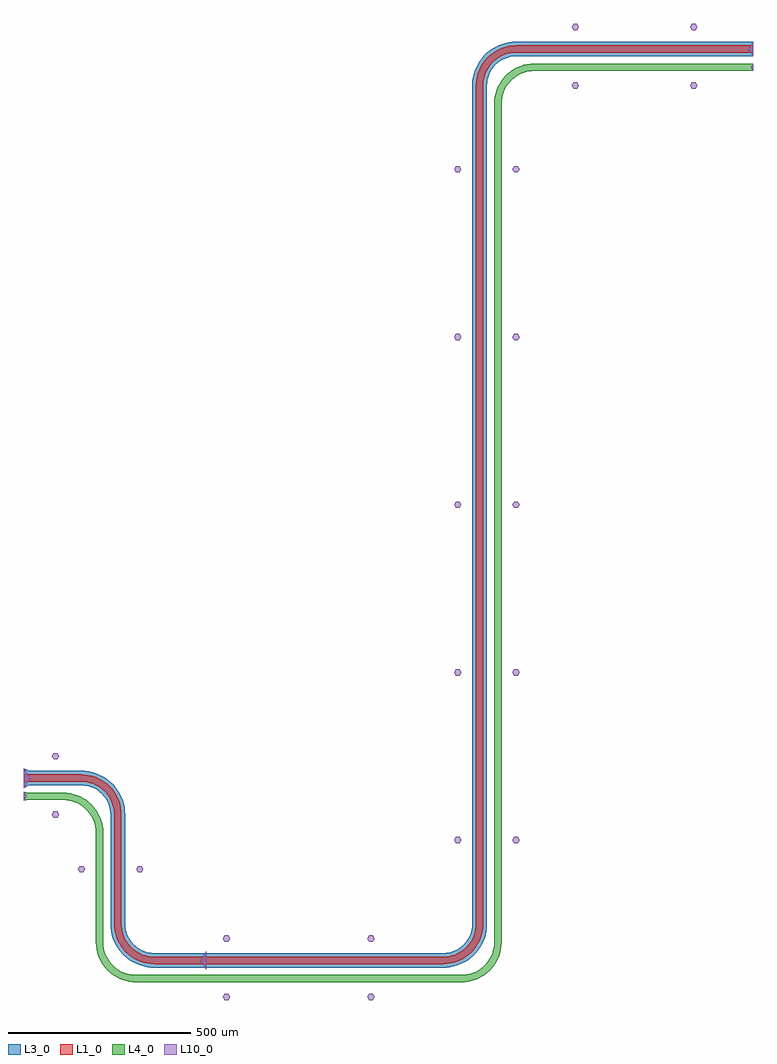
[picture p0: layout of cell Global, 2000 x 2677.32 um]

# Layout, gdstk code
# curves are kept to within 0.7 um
import gdstk
lib = gdstk.Library(unit=1e-6, precision=1e-09)
def P(c, l, *ps):  # polygons
    for p in ps: c.add(gdstk.Polygon(p, *l))
L1_0 = (1, 0)
L3_0 = (3, 0)
L4_0 = (4, 0)
L10_0 = (10, 0)

global_ = lib.new_cell('Global')
P(global_, L1_0, [(0,12.5),(15,10),(15,-10),(0,-12.5)],
  [(15,10),(15,-10),(157.5,-10),(174.037,-11.532),(182.13,-13.436),(197.616,-19.435),(211.737,-28.178),(224.011,-39.367),(234.02,-52.621),(241.423,-67.488),(244.064,-75.37),(245.968,-83.463),(247.5,-100),(247.5,-400),(249.171,-419.101),(251.248,-428.47),(257.806,-446.488),(262.237,-455),(273.235,-470.707),(286.793,-484.265),(294.407,-490.107),(311.012,-499.694),(319.878,-503.366),(338.399,-508.329),(357.5,-510),(1150,-510),(1169.101,-508.329),(1178.47,-506.252),(1196.488,-499.694),(1213.093,-490.107),(1227.782,-477.782),(1240.107,-463.093),(1249.694,-446.488),(1256.252,-428.47),(1258.329,-419.101),(1260,-400),(1260,1900),(1261.532,1916.537),(1263.436,1924.63),(1266.077,1932.512),(1273.48,1947.379),(1283.489,1960.633),(1289.367,1966.511),(1302.621,1976.52),(1317.488,1983.923),(1333.463,1988.468),(1341.696,1989.616),(2000,1990),(2000,2010),(1340.413,2009.581),(1321.53,2006.252),(1303.512,1999.694),(1295,1995.263),(1279.293,1984.265),(1265.735,1970.707),(1259.893,1963.093),(1250.306,1946.488),(1246.634,1937.622),(1241.671,1919.101),(1240,1900),(1240,-400),(1238.468,-416.537),(1233.923,-432.512),(1226.52,-447.379),(1216.511,-460.633),(1210.633,-466.511),(1197.379,-476.52),(1182.512,-483.923),(1166.537,-488.468),(1150,-490),(357.5,-490),(340.963,-488.468),(324.988,-483.923),(310.121,-476.52),(296.867,-466.511),(290.989,-460.633),(280.98,-447.379),(276.935,-440.116),(273.577,-432.512),(269.032,-416.537),(267.5,-400),(267.081,-90.413),(263.752,-71.53),(257.194,-53.512),(252.763,-45),(241.765,-29.293),(228.207,-15.735),(212.5,-4.737),(203.988,-0.306),(185.97,6.252),(176.601,8.329),(157.5,10)])
P(global_, L3_0, [(0,27.5),(15,20),(15,-20),(0,-27.5)],
  [(15,20),(15,-20),(157.5,-20),(173.107,-21.537),(188.115,-26.09),(201.946,-33.482),(214.069,-43.431),(224.018,-55.554),(228.054,-62.288),(234.055,-76.777),(235.963,-84.393),(237.5,-100),(237.5,-400),(239.137,-419.751),(241.172,-429.458),(247.607,-448.203),(251.963,-457.114),(262.803,-473.706),(269.213,-481.274),(283.794,-494.697),(300.386,-505.537),(309.297,-509.893),(328.042,-516.328),(347.59,-519.59),(357.5,-520),(1150,-520),(1159.91,-519.59),(1179.458,-516.328),(1198.203,-509.893),(1207.114,-505.537),(1223.706,-494.697),(1238.287,-481.274),(1250.46,-465.634),(1259.893,-448.203),(1266.328,-429.458),(1269.59,-409.91),(1270,-400),(1270,1900),(1271.537,1915.607),(1273.445,1923.223),(1279.446,1937.712),(1283.482,1944.446),(1293.431,1956.569),(1299.249,1961.841),(1305.554,1966.518),(1319.385,1973.91),(1334.393,1978.463),(1342.159,1979.615),(2000,1980),(2000,2020),(1340.09,2019.59),(1320.542,2016.328),(1301.797,2009.893),(1292.886,2005.537),(1276.294,1994.697),(1268.726,1988.287),(1255.303,1973.706),(1244.463,1957.114),(1236.502,1938.964),(1231.637,1919.751),(1230,1900),(1230,-400),(1228.463,-415.607),(1223.91,-430.615),(1216.518,-444.446),(1206.569,-456.569),(1194.446,-466.518),(1180.615,-473.91),(1165.607,-478.463),(1150,-480),(357.5,-480),(341.893,-478.463),(326.885,-473.91),(313.054,-466.518),(300.931,-456.569),(295.659,-450.751),(286.946,-437.712),(280.945,-423.223),(279.037,-415.607),(277.5,-400),(277.09,-90.09),(273.828,-70.542),(270.998,-61.036),(263.037,-42.886),(257.96,-34.366),(245.787,-18.726),(231.206,-5.303),(214.614,5.537),(196.464,13.498),(186.958,16.328),(167.41,19.59),(157.5,20)])
P(global_, L4_0, [(0,-37.5),(15,-40),(15,-60),(0,-62.5)],
  [(15,-40),(15,-60),(115.804,-60.384),(124.037,-61.532),(140.012,-66.077),(154.879,-73.48),(168.133,-83.489),(179.322,-95.763),(188.065,-109.884),(191.423,-117.488),(195.968,-133.463),(197.5,-150),(197.5,-450),(199.171,-469.101),(201.248,-478.47),(207.806,-496.488),(212.237,-505),(223.235,-520.707),(236.793,-534.265),(244.407,-540.107),(261.012,-549.694),(269.878,-553.366),(288.399,-558.329),(307.5,-560),(1200,-560),(1219.101,-558.329),(1228.47,-556.252),(1246.488,-549.694),(1263.093,-540.107),(1277.782,-527.782),(1290.107,-513.093),(1299.694,-496.488),(1306.252,-478.47),(1308.329,-469.101),(1310,-450),(1310,1850),(1311.532,1866.537),(1313.436,1874.63),(1316.077,1882.512),(1323.48,1897.379),(1333.489,1910.633),(1339.367,1916.511),(1352.621,1926.52),(1367.488,1933.923),(1383.463,1938.468),(1391.696,1939.616),(2000,1940),(2000,1960),(1390.413,1959.581),(1371.53,1956.252),(1353.512,1949.694),(1345,1945.263),(1329.293,1934.265),(1315.735,1920.707),(1304.737,1905),(1300.306,1896.488),(1293.748,1878.47),(1291.671,1869.101),(1290,1850),(1290,-450),(1288.468,-466.537),(1283.923,-482.512),(1276.52,-497.379),(1266.511,-510.633),(1260.633,-516.511),(1247.379,-526.52),(1232.512,-533.923),(1216.537,-538.468),(1200,-540),(307.5,-540),(290.963,-538.468),(274.988,-533.923),(260.121,-526.52),(246.867,-516.511),(240.989,-510.633),(230.98,-497.379),(226.935,-490.116),(223.577,-482.512),(219.032,-466.537),(217.5,-450),(217.081,-140.413),(213.752,-121.53),(207.194,-103.512),(202.763,-95),(191.765,-79.293),(178.207,-65.735),(162.5,-54.737),(153.988,-50.306),(135.97,-43.748),(126.601,-41.671),(107.5,-40)])
P(global_, L10_0, [(0,12.5),(8.333,0),(0,-12.5)],
  [(0,27.5),(18.333,0),(0,-27.5)],
  [(0,-37.5),(8.333,-50),(0,-62.5)],
  [(500,-525),(483.333,-500),(500,-475)],
  [(2000,1990),(1993.333,2000),(2000,2010)],
  [(2000,1980),(1986.667,2000),(2000,2020)],
  [(2000,1940),(1993.333,1950),(2000,1960)],
  [(96.25,60),(91.25,68.66),(81.25,68.66),(76.25,60),(81.25,51.34),(91.25,51.34)],
  [(96.25,-100),(91.25,-91.34),(81.25,-91.34),(76.25,-100),(81.25,-108.66),(91.25,-108.66)],
  [(327.5,-250),(322.5,-241.34),(312.5,-241.34),(307.5,-250),(312.5,-258.66),(322.5,-258.66)],
  [(167.5,-250),(162.5,-241.34),(152.5,-241.34),(147.5,-250),(152.5,-258.66),(162.5,-258.66)],
  [(565.625,-440),(560.625,-431.34),(550.625,-431.34),(545.625,-440),(550.625,-448.66),(560.625,-448.66)],
  [(565.625,-600),(560.625,-591.34),(550.625,-591.34),(545.625,-600),(550.625,-608.66),(560.625,-608.66)],
  [(961.875,-440),(956.875,-431.34),(946.875,-431.34),(941.875,-440),(946.875,-448.66),(956.875,-448.66)],
  [(961.875,-600),(956.875,-591.34),(946.875,-591.34),(941.875,-600),(946.875,-608.66),(956.875,-608.66)],
  [(1200,-170),(1195,-161.34),(1185,-161.34),(1180,-170),(1185,-178.66),(1195,-178.66)],
  [(1360,-170),(1355,-161.34),(1345,-161.34),(1340,-170),(1345,-178.66),(1355,-178.66)],
  [(1200,290),(1195,298.66),(1185,298.66),(1180,290),(1185,281.34),(1195,281.34)],
  [(1360,290),(1355,298.66),(1345,298.66),(1340,290),(1345,281.34),(1355,281.34)],
  [(1200,750),(1195,758.66),(1185,758.66),(1180,750),(1185,741.34),(1195,741.34)],
  [(1360,750),(1355,758.66),(1345,758.66),(1340,750),(1345,741.34),(1355,741.34)],
  [(1200,1210),(1195,1218.66),(1185,1218.66),(1180,1210),(1185,1201.34),(1195,1201.34)],
  [(1360,1210),(1355,1218.66),(1345,1218.66),(1340,1210),(1345,1201.34),(1355,1201.34)],
  [(1200,1670),(1195,1678.66),(1185,1678.66),(1180,1670),(1185,1661.34),(1195,1661.34)],
  [(1360,1670),(1355,1678.66),(1345,1678.66),(1340,1670),(1345,1661.34),(1355,1661.34)],
  [(1522.5,2060),(1517.5,2068.66),(1507.5,2068.66),(1502.5,2060),(1507.5,2051.34),(1517.5,2051.34)],
  [(1522.5,1900),(1517.5,1908.66),(1507.5,1908.66),(1502.5,1900),(1507.5,1891.34),(1517.5,1891.34)],
  [(1847.5,2060),(1842.5,2068.66),(1832.5,2068.66),(1827.5,2060),(1832.5,2051.34),(1842.5,2051.34)],
  [(1847.5,1900),(1842.5,1908.66),(1832.5,1908.66),(1827.5,1900),(1832.5,1891.34),(1842.5,1891.34)])

lib.write_gds('Global.gds')
